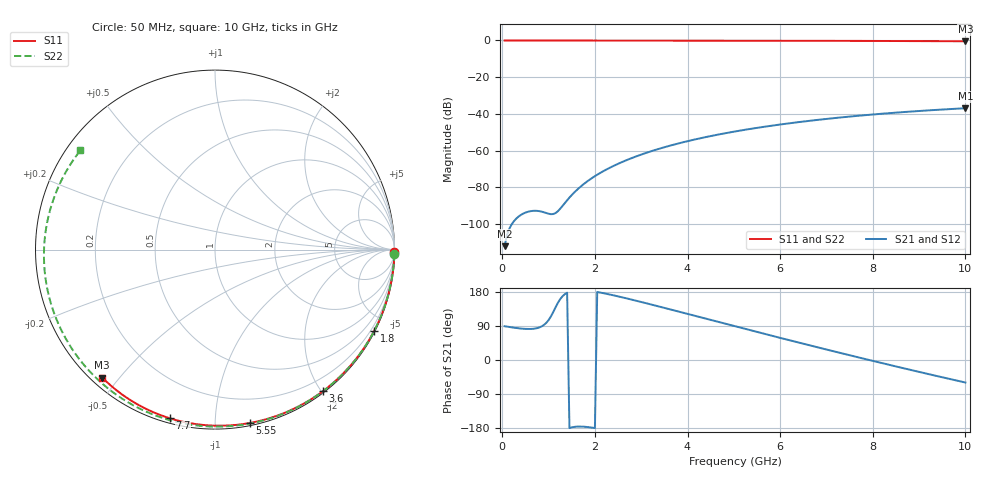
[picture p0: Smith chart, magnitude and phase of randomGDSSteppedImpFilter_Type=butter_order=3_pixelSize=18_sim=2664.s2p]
! freq	dB(S11)	phase(S11)	dB(S12)	phase(S12)
!  dB(S21)	phase(S21)	dB(S22)	phase(S22)
!S-par simulation data
#  GHz  S  DB  R 50
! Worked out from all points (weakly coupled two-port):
!   200 points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, 50 MHz to 10 GHz, reference 50 ohm
!   highest |S21| = -36.91 dB at 10 GHz (marker M1); lowest = -112.0 dB at 50 MHz (marker M2)
!   lowest |S11| = -0.4 dB at 10 GHz (marker M3), VSWR 39.20, Z = 1.54 - j22.6 ohm
!   |S11| at or under -10 dB: nowhere
!   |S22| runs from -0.6 to 0.0 dB; largest |S21 - S12| = 0
!   S11 on the Smith chart (normalised r, x): 50 MHz: open; 1.8 GHz: 0.04, -4.18; 3.6 GHz: 0.02, -2.02; 5.55 GHz: 0.02, -1.22; 7.7 GHz: 0.02, -0.77; 10 GHz: 0.03, -0.45
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0.05  -0.00 -0.8  -112.02 89.1  -112.02 89.1  -0.00 -1.3
0.4  -0.01 -6.1  -95.02 83.0  -95.02 83.0  -0.01 -10.1
0.8  -0.02 -12.1  -92.94 85.9  -92.94 85.9  -0.03 -20.1
1.2  -0.02 -18.1  -92.99 150.8  -92.99 150.8  -0.04 -30.0
1.65  -0.03 -24.7  -80.49 -175.6  -80.49 -175.6  -0.05 -40.9
1.75  -0.03 -26.2  -78.37 -175.9  -78.37 -175.9  -0.05 -43.3
1.8  -0.03 -26.9  -77.39 -176.4  -77.39 -176.4  -0.06 -44.5
2.1  -0.04 -31.3  -72.35 178.3  -72.35 178.3  -0.07 -51.6
2.5  -0.05 -37.1  -67.16 167.9  -67.16 167.9  -0.08 -60.9
2.9  -0.06 -42.8  -63.04 156.2  -63.04 156.2  -0.09 -70.0
3.4  -0.07 -49.9  -58.87 140.7  -58.87 140.7  -0.11 -81.1
3.6  -0.07 -52.7  -57.43 134.4  -57.43 134.4  -0.11 -85.5
4.3  -0.09 -62.2  -53.12 112.1  -53.12 112.1  -0.14 -100.3
5.05  -0.11 -72.2  -49.45 88.2  -49.45 88.2  -0.17 -115.7
5.55  -0.13 -78.7  -47.40 72.4  -47.40 72.4  -0.20 -125.7
6.15  -0.15 -86.2  -45.26 53.7  -45.26 53.7  -0.24 -137.5
6.7  -0.18 -93.0  -43.56 36.8  -43.56 36.8  -0.28 -148.2
7.2  -0.21 -99.1  -42.19 21.6  -42.19 21.6  -0.32 -157.9
7.7  -0.24 -105.0  -40.98 6.6  -40.98 6.6  -0.36 -167.8
8.35  -0.29 -112.6  -39.59 -12.6  -39.59 -12.6  -0.43 179.1
9.2  -0.36 -122.3  -38.07 -37.1  -38.07 -37.1  -0.52 161.4
10  -0.44 -131.4  -36.91 -59.4  -36.91 -59.4  -0.61 143.6
